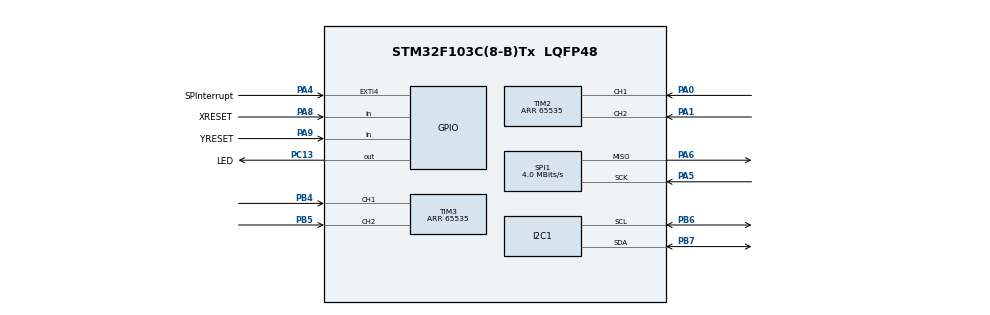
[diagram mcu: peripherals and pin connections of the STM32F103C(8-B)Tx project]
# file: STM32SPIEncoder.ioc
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Mcu.Family=STM32F1
Mcu.Name=STM32F103C(8-B)Tx
Mcu.Package=LQFP48
NVIC.EXTI4_IRQn=true\:0\:0\:false\:false\:true\:true
NVIC.PriorityGroup=NVIC_PRIORITYGROUP_4
NVIC.SPI1_IRQn=true\:0\:0\:false\:false\:true\:true
NVIC.TIM2_IRQn=true\:0\:0\:false\:false\:true\:true
NVIC.TIM3_IRQn=true\:0\:0\:false\:false\:true\:true
PA0-WKUP.Signal=S_TIM2_CH1_ETR
PA1.Signal=S_TIM2_CH2
PA13.Mode=Serial_Wire
PA13.Signal=SYS_JTMS-SWDIO
PA14.Mode=Serial_Wire
PA14.Signal=SYS_JTCK-SWCLK
PA4.GPIO_Label=SPInterrupt
PA4.Signal=GPXTI4
PA5.Mode=TX_Only_Simplex_Unidirect_Slave
PA5.Signal=SPI1_SCK
PA6.Mode=TX_Only_Simplex_Unidirect_Slave
PA6.Signal=SPI1_MISO
PA8.GPIO_Label=XRESET
PA8.GPIO_PuPd=GPIO_PULLUP
PA8.Signal=GPIO_Input
PA9.GPIO_Label=YRESET
PA9.GPIO_PuPd=GPIO_PULLUP
PA9.Signal=GPIO_Input
PB4.Signal=S_TIM3_CH1
PB5.Signal=S_TIM3_CH2
PB6.Mode=I2C
PB6.Signal=I2C1_SCL
PB7.Mode=I2C
PB7.Signal=I2C1_SDA
PC13-TAMPER-RTC.GPIO_Label=LED
PC13-TAMPER-RTC.Signal=GPIO_Output
PD0-OSC_IN.Mode=HSE-External-Oscillator
PD0-OSC_IN.Signal=RCC_OSC_IN
PD1-OSC_OUT.Mode=HSE-External-Oscillator
PD1-OSC_OUT.Signal=RCC_OSC_OUT
ProjectManager.HeapSize=0x200
ProjectManager.StackSize=0x400
ProjectManager.TargetToolchain=SW4STM32
RCC.APB1Freq_Value=8000000
RCC.APB2Freq_Value=8000000
RCC.SYSCLKSource=RCC_SYSCLKSOURCE_HSE
SH.S_TIM2_CH1_ETR.0=TIM2_CH1,Encoder_Interface
SH.S_TIM2_CH2.0=TIM2_CH2,Encoder_Interface
SH.S_TIM3_CH1.0=TIM3_CH1,Encoder_Interface
SH.S_TIM3_CH2.0=TIM3_CH2,Encoder_Interface
SPI1.CalculateBaudRate=4.0 MBits/s
SPI1.Direction=SPI_DIRECTION_2LINES
SPI1.Mode=SPI_MODE_SLAVE
SPI1.VirtualType=VM_SLAVE
TIM2.EncoderMode=TIM_ENCODERMODE_TI12
TIM2.IC1Prescaler=TIM_ICPSC_DIV2
TIM2.IC2Prescaler=TIM_ICPSC_DIV2
TIM2.Period=65535
TIM3.EncoderMode=TIM_ENCODERMODE_TI12
TIM3.IC1Prescaler=TIM_ICPSC_DIV2
TIM3.IC2Prescaler=TIM_ICPSC_DIV2
TIM3.Period=65535
board=custom

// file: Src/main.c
/**
  ******************************************************************************
  * @file           : main.c
  * @brief          : Main program body
  ******************************************************************************
  ** This notice applies to any and all portions of this file
  * that are not between comment pairs USER CODE BEGIN and
  * USER CODE END. Other portions of this file, whether
  * inserted by the user or by software development tools
  * are owned by their respective copyright owners.
  *
  * COPYRIGHT(c) 2019 STMicroelectronics
  *
  * Redistribution and use in source and binary forms, with or without modification,
  * are permitted provided that the following conditions are met:
  *   1. Redistributions of source code must retain the above copyright notice,
  *      this list of conditions and the following disclaimer.
  *   2. Redistributions in binary form must reproduce the above copyright notice,
  *      this list of conditions and the following disclaimer in the documentation
  *      and/or other materials provided with the distribution.
  *   3. Neither the name of STMicroelectronics nor the names of its contributors
  *      may be used to endorse or promote products derived from this software
  *      without specific prior written permission.
  *
  * THIS SOFTWARE IS PROVIDED BY THE COPYRIGHT HOLDERS AND CONTRIBUTORS "AS IS"
  * AND ANY EXPRESS OR IMPLIED WARRANTIES, INCLUDING, BUT NOT LIMITED TO, THE
  * IMPLIED WARRANTIES OF MERCHANTABILITY AND FITNESS FOR A PARTICULAR PURPOSE ARE
  * DISCLAIMED. IN NO EVENT SHALL THE COPYRIGHT HOLDER OR CONTRIBUTORS BE LIABLE
  * FOR ANY DIRECT, INDIRECT, INCIDENTAL, SPECIAL, EXEMPLARY, OR CONSEQUENTIAL
  * DAMAGES (INCLUDING, BUT NOT LIMITED TO, PROCUREMENT OF SUBSTITUTE GOODS OR
  * SERVICES; LOSS OF USE, DATA, OR PROFITS; OR BUSINESS INTERRUPTION) HOWEVER
  * CAUSED AND ON ANY THEORY OF LIABILITY, WHETHER IN CONTRACT, STRICT LIABILITY,
  * OR TORT (INCLUDING NEGLIGENCE OR OTHERWISE) ARISING IN ANY WAY OUT OF THE USE
  * OF THIS SOFTWARE, EVEN IF ADVISED OF THE POSSIBILITY OF SUCH DAMAGE.
  *
  ******************************************************************************
  */
#include "main.h"
#include "stm32f1xx_hal.h"

/* USER CODE BEGIN Includes */
#include "Globals.h"
#include "I2CLCD.h"

/* USER CODE END Includes */

I2C_HandleTypeDef hi2c1;

SPI_HandleTypeDef hspi1;

TIM_HandleTypeDef htim2;
TIM_HandleTypeDef htim3;

/* USER CODE BEGIN PV */
/* Private variables ---------------------------------------------------------*/
I2CLCDDisplay display;
int16_t encoderX=0;
int16_t encoderY=0;
uint8_t latchedEncoders[4] = {0,0,0,0};
uint8_t IRQFlag=1;

/* USER CODE END PV */

void SystemClock_Config(void);
static void MX_GPIO_Init(void);
static void MX_I2C1_Init(void);
static void MX_TIM2_Init(void);
static void MX_SPI1_Init(void);
static void MX_TIM3_Init(void);

/* USER CODE BEGIN PFP */
/* Private function prototypes -----------------------------------------------*/

/* USER CODE END PFP */

/* USER CODE BEGIN 0 */
void HAL_SPI_TxCpltCallback (SPI_HandleTypeDef * hspi){
	 HAL_SPI_Transmit_IT(&hspi1,latchedEncoders,4);
}

/* USER CODE END 0 */

int main(void)
{
  /* USER CODE BEGIN 1 */
	char buffer[16];

  /* USER CODE END 1 */

  /* MCU Configuration----------------------------------------------------------*/

  /* Reset of all peripherals, Initializes the Flash interface and the Systick. */
  HAL_Init();

  /* Configure the system clock */
  SystemClock_Config();

  /* Initialize all configured peripherals */
  MX_GPIO_Init();
  MX_I2C1_Init();
  MX_TIM2_Init();
  MX_SPI1_Init();
  MX_TIM3_Init();
  /* USER CODE BEGIN 2 */
  //Init encoders
  HAL_TIM_Encoder_Start_IT(&htim2, TIM_CHANNEL_ALL);
  HAL_TIM_Encoder_Start_IT(&htim3, TIM_CHANNEL_ALL);
  HAL_SPI_Transmit_IT(&hspi1,latchedEncoders,4);

  //Init i2cLCD structure
  display.Address = 0x4E;
  display.Backlight = 1;
  display.Bus = hi2c1;
  I2CLCD_Init(display);
  I2CLCD_WriteLine(display, 0, "                ");
  I2CLCD_WriteLine(display, 1, "                ");

  /* USER CODE END 2 */

  /* Infinite loop */
  while (1)
  {

  /* USER CODE BEGIN 3 */
	  //Check for resets
	  if (HAL_GPIO_ReadPin(XRESET_GPIO_Port,XRESET_Pin)== GPIO_PIN_RESET){
		  __HAL_TIM_SET_COUNTER(&htim2,0);
		  encoderX=0;
	  }
	  if (HAL_GPIO_ReadPin(YRESET_GPIO_Port,YRESET_Pin)== GPIO_PIN_RESET){
		  __HAL_TIM_SET_COUNTER(&htim3,0);
		  encoderY=0;
	  }
	  HAL_Delay(100);
	  HAL_GPIO_TogglePin(LED_GPIO_Port, LED_Pin);
	  if (encoderX<0){
		  sprintf(buffer,"X:-%#3d,%02d mm     ",((-1*encoderX)/100),((-1*encoderX)%100));
	  } else {
		  sprintf(buffer,"X:+%#3d,%02d mm     ",(encoderX/100),(encoderX%100));
	  }
	  I2CLCD_WriteLine(display,0,buffer);
	  if (encoderY<0){
		  sprintf(buffer,"Y:-%#3d,%02d mm     ",((-1*encoderY)/100),((-1*encoderY)%-100));
	  } else {
		  sprintf(buffer,"Y:+%#3d,%02d mm     ",(encoderY/100),(encoderY%100));
	  }
	  I2CLCD_WriteLine(display,1,buffer);

  }
  /* USER CODE END 3 */

}

void SystemClock_Config(void)
{

  RCC_OscInitTypeDef RCC_OscInitStruct;
  RCC_ClkInitTypeDef RCC_ClkInitStruct;

    /**Initializes the CPU, AHB and APB busses clocks
    */
  RCC_OscInitStruct.OscillatorType = RCC_OSCILLATORTYPE_HSE;
  RCC_OscInitStruct.HSEState = RCC_HSE_ON;
  RCC_OscInitStruct.PLL.PLLState = RCC_PLL_NONE;
  if (HAL_RCC_OscConfig(&RCC_OscInitStruct) != HAL_OK)
  {
    _Error_Handler(__FILE__, __LINE__);
  }

    /**Initializes the CPU, AHB and APB busses clocks
    */
  RCC_ClkInitStruct.ClockType = RCC_CLOCKTYPE_HCLK|RCC_CLOCKTYPE_SYSCLK
                              |RCC_CLOCKTYPE_PCLK1|RCC_CLOCKTYPE_PCLK2;
  RCC_ClkInitStruct.SYSCLKSource = RCC_SYSCLKSOURCE_HSE;
  RCC_ClkInitStruct.AHBCLKDivider = RCC_SYSCLK_DIV1;
  RCC_ClkInitStruct.APB1CLKDivider = RCC_HCLK_DIV1;
  RCC_ClkInitStruct.APB2CLKDivider = RCC_HCLK_DIV1;

  if (HAL_RCC_ClockConfig(&RCC_ClkInitStruct, FLASH_LATENCY_0) != HAL_OK)
  {
    _Error_Handler(__FILE__, __LINE__);
  }

    /**Configure the Systick interrupt time
    */
  HAL_SYSTICK_Config(HAL_RCC_GetHCLKFreq()/1000);

    /**Configure the Systick
    */
  HAL_SYSTICK_CLKSourceConfig(SYSTICK_CLKSOURCE_HCLK);

  /* SysTick_IRQn interrupt configuration */
  HAL_NVIC_SetPriority(SysTick_IRQn, 0, 0);
}

/* I2C1 init function */
static void MX_I2C1_Init(void)
{

  hi2c1.Instance = I2C1;
  hi2c1.Init.ClockSpeed = 100000;
  hi2c1.Init.DutyCycle = I2C_DUTYCYCLE_2;
  hi2c1.Init.OwnAddress1 = 0;
  hi2c1.Init.AddressingMode = I2C_ADDRESSINGMODE_7BIT;
  hi2c1.Init.DualAddressMode = I2C_DUALADDRESS_DISABLE;
  hi2c1.Init.OwnAddress2 = 0;
  hi2c1.Init.GeneralCallMode = I2C_GENERALCALL_DISABLE;
  hi2c1.Init.NoStretchMode = I2C_NOSTRETCH_DISABLE;
  if (HAL_I2C_Init(&hi2c1) != HAL_OK)
  {
    _Error_Handler(__FILE__, __LINE__);
  }

}

/* SPI1 init function */
static void MX_SPI1_Init(void)
{

  /* SPI1 parameter configuration*/
  hspi1.Instance = SPI1;
  hspi1.Init.Mode = SPI_MODE_SLAVE;
  hspi1.Init.Direction = SPI_DIRECTION_2LINES;
  hspi1.Init.DataSize = SPI_DATASIZE_8BIT;
  hspi1.Init.CLKPolarity = SPI_POLARITY_LOW;
  hspi1.Init.CLKPhase = SPI_PHASE_1EDGE;
  hspi1.Init.NSS = SPI_NSS_SOFT;
  hspi1.Init.BaudRatePrescaler = SPI_BAUDRATEPRESCALER_2;
  hspi1.Init.FirstBit = SPI_FIRSTBIT_MSB;
  hspi1.Init.TIMode = SPI_TIMODE_DISABLE;
  hspi1.Init.CRCCalculation = SPI_CRCCALCULATION_DISABLE;
  hspi1.Init.CRCPolynomial = 10;
  if (HAL_SPI_Init(&hspi1) != HAL_OK)
  {
    _Error_Handler(__FILE__, __LINE__);
  }

}

/* TIM2 init function */
static void MX_TIM2_Init(void)
{

  TIM_Encoder_InitTypeDef sConfig;
  TIM_MasterConfigTypeDef sMasterConfig;

  htim2.Instance = TIM2;
  htim2.Init.Prescaler = 0;
  htim2.Init.CounterMode = TIM_COUNTERMODE_UP;
  htim2.Init.Period = 65535;
  htim2.Init.ClockDivision = TIM_CLOCKDIVISION_DIV1;
  htim2.Init.AutoReloadPreload = TIM_AUTORELOAD_PRELOAD_DISABLE;
  sConfig.EncoderMode = TIM_ENCODERMODE_TI12;
  sConfig.IC1Polarity = TIM_ICPOLARITY_RISING;
  sConfig.IC1Selection = TIM_ICSELECTION_DIRECTTI;
  sConfig.IC1Prescaler = TIM_ICPSC_DIV2;
  sConfig.IC1Filter = 0;
  sConfig.IC2Polarity = TIM_ICPOLARITY_RISING;
  sConfig.IC2Selection = TIM_ICSELECTION_DIRECTTI;
  sConfig.IC2Prescaler = TIM_ICPSC_DIV2;
  sConfig.IC2Filter = 0;
  if (HAL_TIM_Encoder_Init(&htim2, &sConfig) != HAL_OK)
  {
    _Error_Handler(__FILE__, __LINE__);
  }

  sMasterConfig.MasterOutputTrigger = TIM_TRGO_RESET;
  sMasterConfig.MasterSlaveMode = TIM_MASTERSLAVEMODE_DISABLE;
  if (HAL_TIMEx_MasterConfigSynchronization(&htim2, &sMasterConfig) != HAL_OK)
  {
    _Error_Handler(__FILE__, __LINE__);
  }

}

/* TIM3 init function */
static void MX_TIM3_Init(void)
{

  TIM_Encoder_InitTypeDef sConfig;
  TIM_MasterConfigTypeDef sMasterConfig;

  htim3.Instance = TIM3;
  htim3.Init.Prescaler = 0;
  htim3.Init.CounterMode = TIM_COUNTERMODE_UP;
  htim3.Init.Period = 65535;
  htim3.Init.ClockDivision = TIM_CLOCKDIVISION_DIV1;
  htim3.Init.AutoReloadPreload = TIM_AUTORELOAD_PRELOAD_DISABLE;
  sConfig.EncoderMode = TIM_ENCODERMODE_TI12;
  sConfig.IC1Polarity = TIM_ICPOLARITY_RISING;
  sConfig.IC1Selection = TIM_ICSELECTION_DIRECTTI;
  sConfig.IC1Prescaler = TIM_ICPSC_DIV2;
  sConfig.IC1Filter = 0;
  sConfig.IC2Polarity = TIM_ICPOLARITY_RISING;
  sConfig.IC2Selection = TIM_ICSELECTION_DIRECTTI;
  sConfig.IC2Prescaler = TIM_ICPSC_DIV2;
  sConfig.IC2Filter = 0;
  if (HAL_TIM_Encoder_Init(&htim3, &sConfig) != HAL_OK)
  {
    _Error_Handler(__FILE__, __LINE__);
  }

  sMasterConfig.MasterOutputTrigger = TIM_TRGO_RESET;
  sMasterConfig.MasterSlaveMode = TIM_MASTERSLAVEMODE_DISABLE;
  if (HAL_TIMEx_MasterConfigSynchronization(&htim3, &sMasterConfig) != HAL_OK)
  {
    _Error_Handler(__FILE__, __LINE__);
  }

}

/** Configure pins as
        * Analog
        * Input
        * Output
        * EVENT_OUT
        * EXTI
*/
static void MX_GPIO_Init(void)
{

  GPIO_InitTypeDef GPIO_InitStruct;

  /* GPIO Ports Clock Enable */
  __HAL_RCC_GPIOC_CLK_ENABLE();
  __HAL_RCC_GPIOD_CLK_ENABLE();
  __HAL_RCC_GPIOA_CLK_ENABLE();
  __HAL_RCC_GPIOB_CLK_ENABLE();

  /*Configure GPIO pin Output Level */
  HAL_GPIO_WritePin(LED_GPIO_Port, LED_Pin, GPIO_PIN_RESET);

  /*Configure GPIO pin : LED_Pin */
  GPIO_InitStruct.Pin = LED_Pin;
  GPIO_InitStruct.Mode = GPIO_MODE_OUTPUT_PP;
  GPIO_InitStruct.Pull = GPIO_NOPULL;
  GPIO_InitStruct.Speed = GPIO_SPEED_FREQ_LOW;
  HAL_GPIO_Init(LED_GPIO_Port, &GPIO_InitStruct);

  /*Configure GPIO pin : SPInterrupt_Pin */
  GPIO_InitStruct.Pin = SPInterrupt_Pin;
  GPIO_InitStruct.Mode = GPIO_MODE_IT_RISING;
  GPIO_InitStruct.Pull = GPIO_NOPULL;
  HAL_GPIO_Init(SPInterrupt_GPIO_Port, &GPIO_InitStruct);

  /*Configure GPIO pins : XRESET_Pin YRESET_Pin */
  GPIO_InitStruct.Pin = XRESET_Pin|YRESET_Pin;
  GPIO_InitStruct.Mode = GPIO_MODE_INPUT;
  GPIO_InitStruct.Pull = GPIO_PULLUP;
  HAL_GPIO_Init(GPIOA, &GPIO_InitStruct);

  /* EXTI interrupt init*/
  HAL_NVIC_SetPriority(EXTI4_IRQn, 0, 0);
  HAL_NVIC_EnableIRQ(EXTI4_IRQn);

}

void _Error_Handler(char *file, int line)
{
  while(1)
  {
  }
}

/************************ (C) COPYRIGHT STMicroelectronics *****END OF FILE****/
